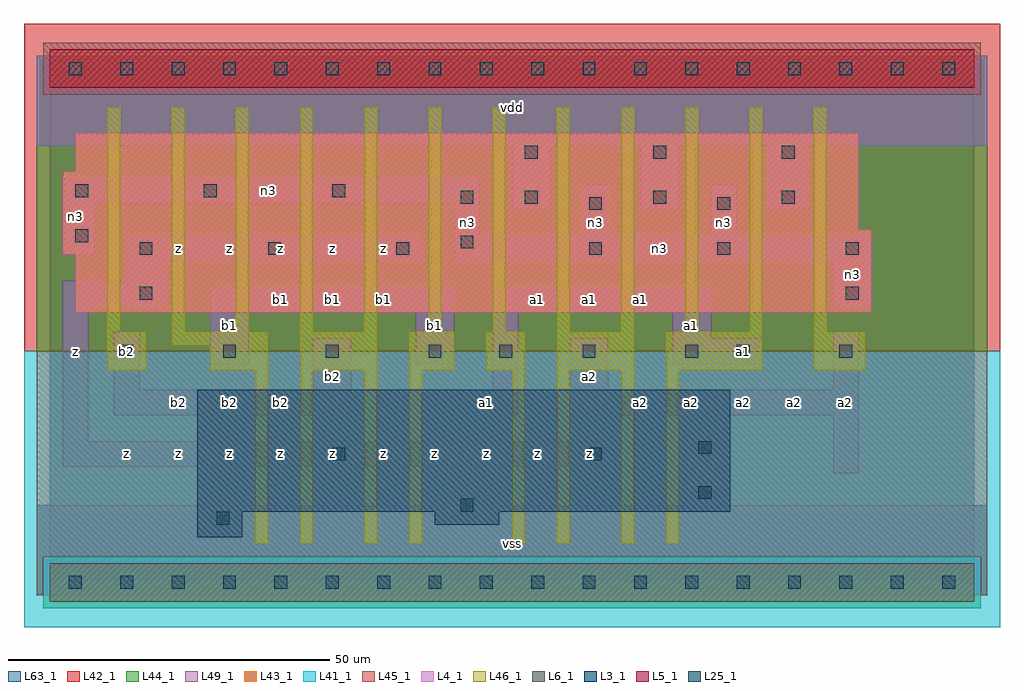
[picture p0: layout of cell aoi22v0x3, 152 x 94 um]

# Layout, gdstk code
import gdstk
lib = gdstk.Library(unit=1e-6, precision=1e-09)
def R(c, l, rs):  # rectangles x0, y0, x1, y1
    for r in rs: c.add(gdstk.rectangle(r[:2], r[2:], *l))
def A(c, l, x, y, w, h, nx, ny, dx, dy):  # array of equal rectangles
    R(c, l, [(x+i*dx, y+j*dy, x+i*dx+w, y+j*dy+h) for i in range(nx) for j in range(ny)])
L3_1 = (3, 1)
L4_1 = (4, 1)
L5_1 = (5, 1)
L6_1 = (6, 1)
L25_1 = (25, 1)
L41_1 = (41, 1)
L42_1 = (42, 1)
L43_1 = (43, 1)
L44_1 = (44, 1)
L45_1 = (45, 1)
L46_1 = (46, 1)
L49_1 = (49, 1)
L63_1 = (63, 1)

aoi22v0x3 = lib.new_cell('aoi22v0x3')
R(aoi22v0x3, L3_1, [(23,7,30,11), (60,9,70,11), (23,11,106,30)])
R(aoi22v0x3, L4_1, [(4,42,128,51), (2,51,128,55), (2,55,126,64), (4,64,126,70)])
R(aoi22v0x3, L5_1, [(0,77,144,83)])
R(aoi22v0x3, L6_1, [(0,-3,144,3), (0,-3,144,3)])
A(aoi22v0x3, L25_1, 3, -1, 2, 2, 18, 2, 8, 80)
A(aoi22v0x3, L25_1, 11, 35, 2, 2, 4, 1, 16, 0)
A(aoi22v0x3, L25_1, 14, 51, 2, 2, 3, 1, 20, 0)
A(aoi22v0x3, L25_1, 84, 51, 2, 2, 3, 1, 20, 0)
A(aoi22v0x3, L25_1, 74, 59, 2, 2, 3, 2, 20, 7)
A(aoi22v0x3, L25_1, 4, 60, 2, 2, 3, 1, 20, 0)
R(aoi22v0x3, L25_1, [(26,9,28,11), (64,11,66,13), (101,13,103,15), (44,19,46,21), (84,19,86,21), (101,20,103,22), (70,35,72,37), (83,35,85,37), (99,35,101,37), (107,35,109,37), (123,35,125,37), (14,44,16,46), (124,44,126,46), (64,52,66,54), (4,53,6,55), (84,58,86,60), (104,58,106,60), (64,59,66,61)])
R(aoi22v0x3, L41_1, [(-4,-7,148,36)])
R(aoi22v0x3, L42_1, [(-4,36,148,87)])
R(aoi22v0x3, L43_1, [(0,-3,144,3), (23,7,30,11), (60,9,70,11), (23,11,106,30), (4,42,128,51), (2,51,128,55), (2,55,126,64), (4,64,126,70), (0,77,144,83)])
R(aoi22v0x3, L44_1, [(-1,-4,145,4), (-2,36,146,76), (-2,76,-1,82), (145,76,146,82)])
R(aoi22v0x3, L45_1, [(-2,-2,-1,4), (145,-2,146,4), (-2,4,146,36), (-1,76,145,84)])
A(aoi22v0x3, L46_1, 9, 39, 2, 35, 12, 1, 10, 0)
R(aoi22v0x3, L46_1, [(32,6,34,33), (39,6,41,33), (49,6,51,33), (56,6,58,33), (72,6,74,33), (79,6,81,33), (89,6,91,33), (96,6,98,33), (9,33,15,39), (25,33,34,37), (39,33,51,39), (56,33,63,39), (68,33,74,39), (79,33,91,39), (96,33,111,39), (119,33,127,39), (19,37,34,39)])
A(aoi22v0x3, L49_1, 72, 58, 6, 10, 3, 1, 20, 0)
R(aoi22v0x3, L49_1, [(-2,-2,146,12), (62,12,68,14), (99,12,105,23), (122,17,126,26), (2,18,88,22), (2,22,6,43), (10,26,47,30), (65,26,73,30), (81,26,126,30), (10,30,14,39), (41,30,47,38), (69,30,73,42), (81,30,87,38), (122,30,126,39), (25,34,31,42), (57,34,63,42), (97,34,111,38), (97,38,103,42), (25,42,63,46), (69,42,103,46), (2,43,18,47), (122,43,128,50), (12,47,18,50), (12,50,58,54), (63,50,128,54), (2,51,7,59), (63,54,67,59), (83,54,87,62), (103,54,107,62), (2,59,67,63), (-2,68,146,82)])
R(aoi22v0x3, L63_1, [(0,0,144,80)])
aoi22v0x3.add(gdstk.Label('z', (12,20), layer=49, texttype=1))
aoi22v0x3.add(gdstk.Label('b2', (12,36), layer=49, texttype=1))
aoi22v0x3.add(gdstk.Label('z', (4,36), layer=49, texttype=1))
aoi22v0x3.add(gdstk.Label('n3', (4,57), layer=49, texttype=1))
aoi22v0x3.add(gdstk.Label('z', (20,20), layer=49, texttype=1))
aoi22v0x3.add(gdstk.Label('z', (36,20), layer=49, texttype=1))
aoi22v0x3.add(gdstk.Label('z', (44,20), layer=49, texttype=1))
aoi22v0x3.add(gdstk.Label('z', (28,20), layer=49, texttype=1))
aoi22v0x3.add(gdstk.Label('b2', (28,28), layer=49, texttype=1))
aoi22v0x3.add(gdstk.Label('b2', (36,28), layer=49, texttype=1))
aoi22v0x3.add(gdstk.Label('b2', (20,28), layer=49, texttype=1))
aoi22v0x3.add(gdstk.Label('b2', (44,32), layer=49, texttype=1))
aoi22v0x3.add(gdstk.Label('b1', (28,40), layer=49, texttype=1))
aoi22v0x3.add(gdstk.Label('b1', (44,44), layer=49, texttype=1))
aoi22v0x3.add(gdstk.Label('b1', (36,44), layer=49, texttype=1))
aoi22v0x3.add(gdstk.Label('z', (20,52), layer=49, texttype=1))
aoi22v0x3.add(gdstk.Label('z', (28,52), layer=49, texttype=1))
aoi22v0x3.add(gdstk.Label('z', (44,52), layer=49, texttype=1))
aoi22v0x3.add(gdstk.Label('z', (36,52), layer=49, texttype=1))
aoi22v0x3.add(gdstk.Label('z', (68,20), layer=49, texttype=1))
aoi22v0x3.add(gdstk.Label('z', (60,20), layer=49, texttype=1))
aoi22v0x3.add(gdstk.Label('z', (52,20), layer=49, texttype=1))
aoi22v0x3.add(gdstk.Label('a1', (68,28), layer=49, texttype=1))
aoi22v0x3.add(gdstk.Label('b1', (52,44), layer=49, texttype=1))
aoi22v0x3.add(gdstk.Label('b1', (60,40), layer=49, texttype=1))
aoi22v0x3.add(gdstk.Label('z', (52,52), layer=49, texttype=1))
aoi22v0x3.add(gdstk.Label('n3', (65,56), layer=49, texttype=1))
aoi22v0x3.add(gdstk.Label('n3', (34,61), layer=49, texttype=1))
aoi22v0x3.add(gdstk.Label('vss', (72,6), layer=49, texttype=1))
aoi22v0x3.add(gdstk.Label('z', (76,20), layer=49, texttype=1))
aoi22v0x3.add(gdstk.Label('z', (84,20), layer=49, texttype=1))
aoi22v0x3.add(gdstk.Label('a2', (92,28), layer=49, texttype=1))
aoi22v0x3.add(gdstk.Label('a2', (84,32), layer=49, texttype=1))
aoi22v0x3.add(gdstk.Label('a1', (84,44), layer=49, texttype=1))
aoi22v0x3.add(gdstk.Label('a1', (92,44), layer=49, texttype=1))
aoi22v0x3.add(gdstk.Label('a1', (76,44), layer=49, texttype=1))
aoi22v0x3.add(gdstk.Label('n3', (85,56), layer=49, texttype=1))
aoi22v0x3.add(gdstk.Label('vdd', (72,74), layer=49, texttype=1))
aoi22v0x3.add(gdstk.Label('a2', (108,28), layer=49, texttype=1))
aoi22v0x3.add(gdstk.Label('a2', (116,28), layer=49, texttype=1))
aoi22v0x3.add(gdstk.Label('a2', (100,28), layer=49, texttype=1))
aoi22v0x3.add(gdstk.Label('a1', (108,36), layer=49, texttype=1))
aoi22v0x3.add(gdstk.Label('a1', (100,40), layer=49, texttype=1))
aoi22v0x3.add(gdstk.Label('n3', (105,56), layer=49, texttype=1))
aoi22v0x3.add(gdstk.Label('a2', (124,28), layer=49, texttype=1))
aoi22v0x3.add(gdstk.Label('n3', (125,48), layer=49, texttype=1))
aoi22v0x3.add(gdstk.Label('n3', (95,52), layer=49, texttype=1))

lib.write_gds('aoi22v0x3.gds')
